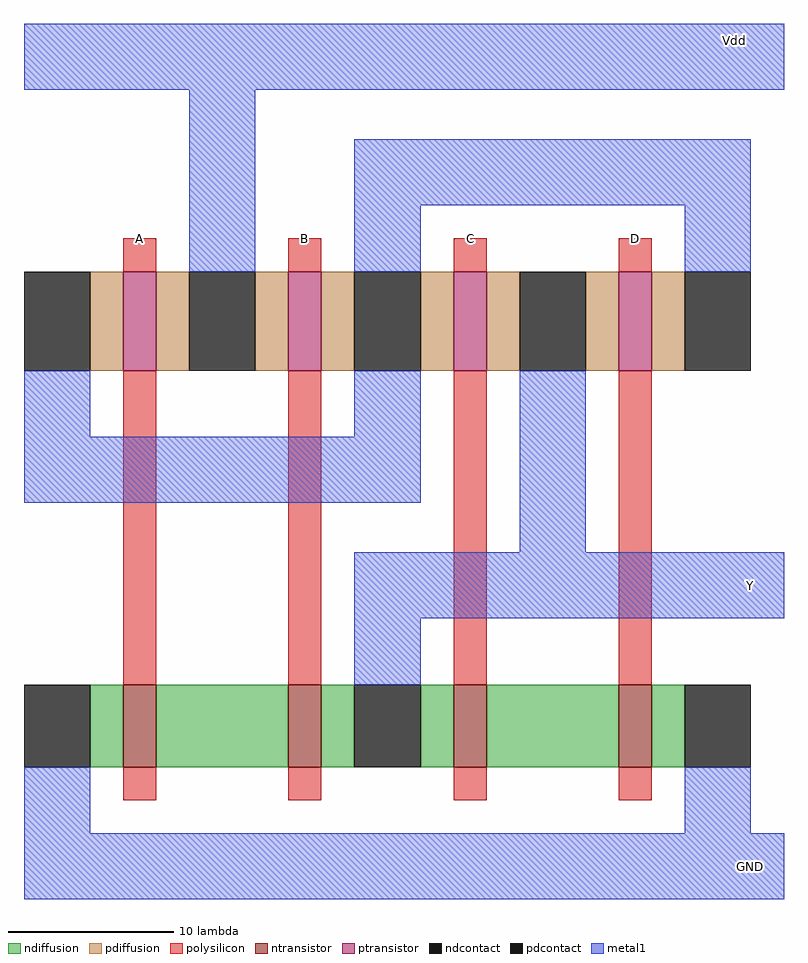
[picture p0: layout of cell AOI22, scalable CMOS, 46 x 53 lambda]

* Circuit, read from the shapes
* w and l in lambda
.subckt AOI22 A B C D GND Vdd Y
M1 n1 A GND VSUBS nfet w=5 l=2
M2 Y B n1 VSUBS nfet w=5 l=2
M3 n2 C Y VSUBS nfet w=5 l=2
M4 GND D n2 VSUBS nfet w=5 l=2
M5 Vdd A n3 NWELL pfet w=6 l=2
M6 n3 B Vdd NWELL pfet w=6 l=2
M7 Y C n3 NWELL pfet w=6 l=2
M8 n3 D Y NWELL pfet w=6 l=2
.ends

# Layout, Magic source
magic
tech scmos
<< polysilicon >>
rect -21 -3 -19 -1
rect -11 -3 -9 -1
rect -1 -3 1 -1
rect 9 -3 11 -1
rect -21 -28 -19 -9
rect -11 -28 -9 -9
rect -1 -28 1 -9
rect 9 -28 11 -9
rect -21 -35 -19 -33
rect -11 -35 -9 -33
rect -1 -35 1 -33
rect 9 -35 11 -33
<< ndiffusion >>
rect -23 -33 -21 -28
rect -19 -33 -11 -28
rect -9 -33 -7 -28
rect -3 -33 -1 -28
rect 1 -33 9 -28
rect 11 -33 13 -28
<< pdiffusion >>
rect -23 -9 -21 -3
rect -19 -9 -17 -3
rect -13 -9 -11 -3
rect -9 -9 -7 -3
rect -3 -9 -1 -3
rect 1 -9 3 -3
rect 7 -9 9 -3
rect 11 -9 13 -3
<< metal1 >>
rect -27 8 19 12
rect -17 -3 -13 8
rect -7 1 17 5
rect -7 -3 -3 1
rect 13 -3 17 1
rect -27 -13 -23 -9
rect -7 -13 -3 -9
rect -27 -17 -3 -13
rect 3 -20 7 -9
rect -7 -24 19 -20
rect -7 -28 -3 -24
rect -27 -37 -23 -33
rect 13 -37 17 -33
rect -27 -41 19 -37
<< ntransistor >>
rect -21 -33 -19 -28
rect -11 -33 -9 -28
rect -1 -33 1 -28
rect 9 -33 11 -28
<< ptransistor >>
rect -21 -9 -19 -3
rect -11 -9 -9 -3
rect -1 -9 1 -3
rect 9 -9 11 -3
<< ndcontact >>
rect -27 -33 -23 -28
rect -7 -33 -3 -28
rect 13 -33 17 -28
<< pdcontact >>
rect -27 -9 -23 -3
rect -17 -9 -13 -3
rect -7 -9 -3 -3
rect 3 -9 7 -3
rect 13 -9 17 -3
<< labels >>
rlabel metal1 17 -23 17 -21 7 Y
rlabel metal1 17 -40 17 -38 8 GND
rlabel metal1 16 10 16 12 6 Vdd
rlabel polysilicon -21 -1 -19 -1 1 A
rlabel polysilicon -11 -1 -9 -1 1 B
rlabel polysilicon -1 -1 1 -1 1 C
rlabel polysilicon 9 -1 11 -1 1 D
<< end >>
